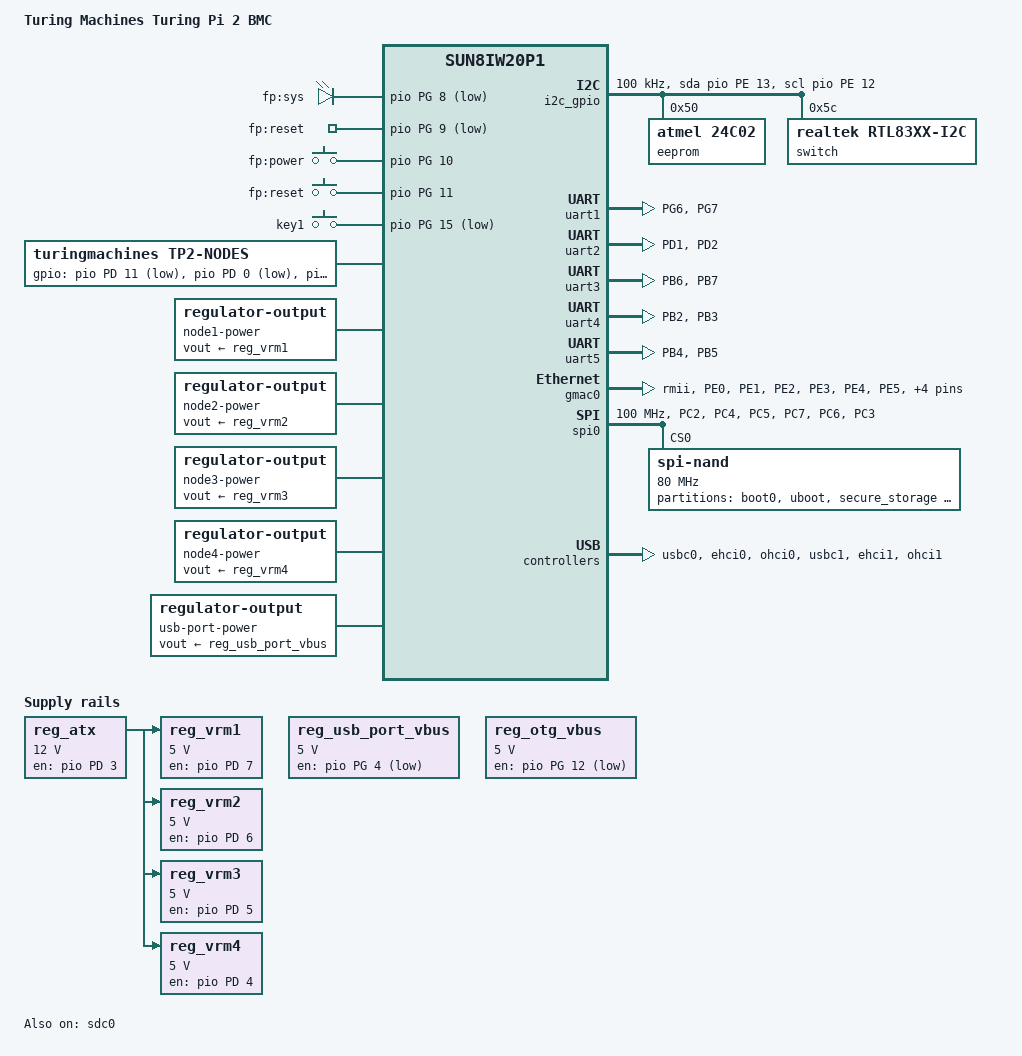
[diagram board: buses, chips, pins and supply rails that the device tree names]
// SPDX-License-Identifier: GPL-2.0
// Copyright (C) 2023 Sam Edwards <CFSworks@gmail.com>

/dts-v1/;

/memreserve/ 0x41900000 0x00100000;

#include "sun8iw20p1.dtsi"
#include <dt-bindings/input/input.h>

/{
	model = "Turing Machines Turing Pi 2 BMC";
	compatible = "turingmachines,tp2bmc", "allwinner,r528", "arm,sun8iw20p1";

	// The i2c-sunxi driver does not currently support NOSTART
	// transactions, which are necessary to support the RTL8370MB's Realtek
	// mode, so GPIO mode is used instead for now. This can be removed once
	// NOSTART support is added to i2c-sunxi.
	i2c_gpio: i2c@2 {
		#address-cells = <1>;
		#size-cells = <0>;

		status = "disabled";
		compatible = "i2c-gpio";

		sda-gpios = <&pio PE 13 (GPIO_ACTIVE_HIGH | GPIO_OPEN_DRAIN)>;
		scl-gpios = <&pio PE 12 (GPIO_ACTIVE_HIGH | GPIO_OPEN_DRAIN)>;
		i2c-gpio,delay-us = <2>; /* 100 KHz */
	};

	// The LEDs are actually GPIO lines that go to the front-panel LEDs.
	// This is currently disabled; userspace wants to manage the GPIOs
	// directly for now.
	leds {
		compatible = "gpio-leds";

		sys {
			label = "fp:sys";
			gpios = <&pio PG 8 GPIO_ACTIVE_LOW>;
		};

		reset {
			label = "fp:reset";
			gpios = <&pio PG 9 GPIO_ACTIVE_LOW>;
		};
	};

	// The keys are also GPIO lines.
	// This is also disabled, for the same reason as above.
	keys {
		compatible = "gpio-keys";

		// Part of the front-panel connector
		power {
			label = "fp:power";
			linux,code = <KEY_POWER>;
			gpios = <&pio PG 10 GPIO_ACTIVE_HIGH>;
		};

		reset {
			label = "fp:reset";
			linux,code = <KEY_RESTART>;
			gpios = <&pio PG 11 GPIO_ACTIVE_HIGH>;
		};

		// Located on the board itself
		key1 {
			label = "key1";
			linux,code = <KEY_1>;
			gpios = <&pio PG 15 GPIO_ACTIVE_LOW>;
		};

	};

	// Node-management GPIOs (x4)
	//
	// This node is intended to be bound to the Linux GPIO Aggregator
	// driver
	nodes {
		compatible = "turingmachines,tp2-nodes";

		gpios = <&pio PD 11 GPIO_ACTIVE_LOW>, /* node 1 */
			<&pio PD  0 GPIO_ACTIVE_LOW>,
			<&pio PD 19 GPIO_ACTIVE_HIGH>,
			<&pio PD 15 GPIO_ACTIVE_LOW>,
			<&pio PD 10 GPIO_ACTIVE_LOW>, /* node 2 */
			<&pio PD 20 GPIO_ACTIVE_LOW>,
			<&pio PD 18 GPIO_ACTIVE_HIGH>,
			<&pio PD 14 GPIO_ACTIVE_LOW>,
			<&pio PD  9 GPIO_ACTIVE_LOW>, /* node 3 */
			<&pio PD 21 GPIO_ACTIVE_LOW>,
			<&pio PD 17 GPIO_ACTIVE_HIGH>,
			<&pio PD 12 GPIO_ACTIVE_LOW>,
			<&pio PD  8 GPIO_ACTIVE_LOW>, /* node 4 */
			<&pio PD 22 GPIO_ACTIVE_LOW>,
			<&pio PD 16 GPIO_ACTIVE_HIGH>,
			<&pio PD 13 GPIO_ACTIVE_LOW>;

		gpio-line-names = "node1-en", "node1-rst",
				  "node1-usbotg-dev", "node1-rpiboot",
				  "node2-en", "node2-rst",
				  "node2-usbotg-dev", "node2-rpiboot",
				  "node3-en", "node3-rst",
				  "node3-usbotg-dev", "node3-rpiboot",
				  "node4-en", "node4-rst",
				  "node4-usbotg-dev", "node4-rpiboot";
	};

	// Voltage regulators (there are 7 main ones):
	// - ATX PSU:
	//   - Node 1 VRM
	//   - Node 2 VRM
	//   - Node 3 VRM
	//   - Node 4 VRM

	// USB power supplies for:
	//   - External USB 5v supply
	//   - On-board micro-B OTG port
	reg_atx: atx-vbus {
		compatible = "regulator-fixed";

		regulator-name = "atx-vbus";
		regulator-min-microvolt = <12000000>;
		regulator-max-microvolt = <12000000>;
		startup-delay-us = <250000>;

		gpio = <&pio PD 3 GPIO_ACTIVE_HIGH>;
		enable-active-high;
	};

	reg_vrm1: vrm1-vbus {
		compatible = "regulator-fixed";

		regulator-name = "vrm1-vbus";
		regulator-min-microvolt = <5000000>;
		regulator-max-microvolt = <5000000>;
		startup-delay-us = <100000>;

		enable-active-high;
		gpio = <&pio PD 7 GPIO_ACTIVE_HIGH>;

		vin-supply = <&reg_atx>;
	};

	node1-power {
		compatible = "regulator-output";
		vout-supply = <&reg_vrm1>;
	};

	reg_vrm2: vrm2-vbus {
		compatible = "regulator-fixed";

		regulator-name = "vrm2-vbus";
		regulator-min-microvolt = <5000000>;
		regulator-max-microvolt = <5000000>;
		startup-delay-us = <100000>;

		enable-active-high;
		gpio = <&pio PD 6 GPIO_ACTIVE_HIGH>;

		vin-supply = <&reg_atx>;
	};

	node2-power {
		compatible = "regulator-output";
		vout-supply = <&reg_vrm2>;
	};

	reg_vrm3: vrm3-vbus {
		compatible = "regulator-fixed";

		regulator-name = "vrm3-vbus";
		regulator-min-microvolt = <5000000>;
		regulator-max-microvolt = <5000000>;
		startup-delay-us = <100000>;

		enable-active-high;
		gpio = <&pio PD 5 GPIO_ACTIVE_HIGH>;

		vin-supply = <&reg_atx>;
	};

	node3-power {
		compatible = "regulator-output";
		vout-supply = <&reg_vrm3>;
	};

	reg_vrm4: vrm4-vbus {
		compatible = "regulator-fixed";

		regulator-name = "vrm4-vbus";
		regulator-min-microvolt = <5000000>;
		regulator-max-microvolt = <5000000>;
		startup-delay-us = <100000>;

		enable-active-high;
		gpio = <&pio PD 4 GPIO_ACTIVE_HIGH>;

		vin-supply = <&reg_atx>;
	};

	node4-power {
		compatible = "regulator-output";
		vout-supply = <&reg_vrm4>;
	};

	reg_usb_port_vbus: usb-port-vbus {
		compatible = "regulator-fixed";

		regulator-name = "usb-port-vbus";
		regulator-min-microvolt = <5000000>;
		regulator-max-microvolt = <5000000>;
		startup-delay-us = <50000>;

		gpio = <&pio PG 4 GPIO_ACTIVE_LOW>;
	};

	usb-port-power {
		compatible = "regulator-output";
		vout-supply = <&reg_usb_port_vbus>;
	};

	reg_otg_vbus: otg-vbus {
		compatible = "regulator-fixed";

		regulator-name = "usb-otg";
		regulator-min-microvolt = <5000000>;
		regulator-max-microvolt = <5000000>;
		startup-delay-us = <50000>;

		gpio = <&pio PG 12 GPIO_ACTIVE_LOW>;
	};
};

/* --- Pin controller --- */
&pio {
	/* SDMMC Controller 0: microSD slot */
	sdc0_pins_a: sdc0@0 {
		allwinner,pins = "PF0", "PF1", "PF2",
				 "PF3", "PF4", "PF5";
		allwinner,function = "sdc0";
		allwinner,muxsel = <2>;
		allwinner,drive = <3>;
		allwinner,pull = <1>;
		pins = "PF0", "PF1", "PF2",
		       "PF3", "PF4", "PF5";
		function = "sdc0";
		drive-strength = <30>;
		bias-pull-up;
		power-source = <3300>;
	};

	sdc0_pins_b: sdc0@1 {
		pins = "PF0", "PF1", "PF2",
		       "PF3", "PF4", "PF5";
		function = "sdc0";
		drive-strength = <30>;
		bias-pull-up;
		power-source = <1800>;
	};

	sdc0_pins_c: sdc0@2 {
		pins = "PF0", "PF1", "PF2",
			"PF3", "PF4", "PF5";
		function = "gpio_in";
	};



	/* SDMMC Controller 2: SPI-NAND, for boot control */
	sdc2_pins_a: sdc2@0 {
		allwinner,pins = "PC2", "PC3", "PC4",
				 "PC5", "PC6", "PC7";
		allwinner,function = "sdc2";
		allwinner,muxsel = <3>;
		allwinner,drive = <3>;
		allwinner,pull = <1>;
		pins = "PC2", "PC3", "PC4",
			"PC5", "PC6", "PC7";
		function = "sdc2";
		drive-strength = <30>;
		bias-pull-up;
	};



	/* UARTs, as follows:
	 * UART0: Unused
	 * UART1: Node 2
	 * UART2: Node 1
	 * UART3: BMC console
	 * UART4: Node 3
	 * UART5: Node 4
	 */
	uart1_pins_a: uart1_pins@0 {
		pins = "PG6", "PG7";
		function = "uart1";
		drive-strength = <10>;
		bias-pull-up;
	};

	uart1_pins_b: uart1_pins {
		pins = "PG6", "PG7";
		function = "gpio_in";
	};

	uart2_pins_a: uart2_pins@0 {
		pins = "PD1", "PD2";
		function = "uart2";
		drive-strength = <10>;
		bias-pull-up;
	};

	uart2_pins_b: uart2_pins@1 {
		pins = "PD1", "PD2";
		function = "gpio_in";
	};

	uart3_pins_a: uart3_pins@0 {
		pins = "PB6", "PB7";
		function = "uart3";
		drive-strength = <10>;
		bias-pull-up;
	};

	uart3_pins_b: uart3_pins@1 {
		pins = "PB6", "PB7";
		function = "gpio_in";
	};

	uart4_pins_a: uart4_pins@0 {
		pins = "PB2", "PB3";
		function = "uart4";
		drive-strength = <10>;
		bias-pull-up;
	};

	uart4_pins_b: uart4_pins@1 {
		pins = "PB2", "PB3";
		function = "gpio_in";
	};

	uart5_pins_a: uart5_pins@0 {
		pins = "PB4", "PB5";
		function = "uart5";
		drive-strength = <10>;
		bias-pull-up;
	};

	uart5_pins_b: uart5_pins@1 {
		pins = "PB4", "PB5";
		function = "gpio_in";
	};



	/* TWI Controller 2: 24C02 and RTL8370MB-CG */
	twi2_pins_a: twi2@0 {
		pins = "PE12", "PE13";
		function = "twi2";
		drive-strength = <10>;
	};

	twi2_pins_b: twi2@1 {
		pins = "PE12", "PE13";
		function = "gpio_in";
	};



	/* Ethernet MAC: RTL8201F in RMII mode */
	gmac0_pins_a: gmac@0 {
		allwinner,pins = "PE0", "PE1", "PE2", "PE3", "PE4",
				 "PE5", "PE6", "PE7","PE8", "PE9";
		allwinner,function = "gmac0";
		allwinner,muxsel = <8>;
		allwinner,drive = <1>;
		allwinner,pull = <0>;
	};

	gmac0_pins_b: gmac@1 {
		allwinner,pins = "PE0", "PE1", "PE2", "PE3", "PE4",
				 "PE5", "PE6", "PE7","PE8", "PE9";
		allwinner,function = "gpio_in";
		allwinner,muxsel = <0>;
		allwinner,drive = <1>;
		allwinner,pull = <0>;
	};



	/* SPI Controller 0: NAND flash */
	spi0_pins_a: spi0@0 {
		pins = "PC2", "PC4", "PC5","PC7", "PC6";
		function = "spi0";
		drive-strength = <10>;
	};

	spi0_pins_b: spi0@1 {
		pins = "PC3";
		function = "spi0";
		drive-strength = <10>;
		bias-pull-up;   /* only CS should be pulled up */
	};

	spi0_pins_c: spi0@2 {
		pins = "PC2", "PC3", "PC4", "PC5","PC6", "PC7";
		function = "gpio_in";
		drive-strength = <10>;
	};
};



/* --- SDMMC --- */
&sdc0 {
	status = "okay";

	pinctrl-names = "default", "mmc_1v8", "sleep";
	pinctrl-0 = <&sdc0_pins_a>;
	pinctrl-1 = <&sdc0_pins_b>;
	pinctrl-2 = <&sdc0_pins_c>;
	pinctrl-3;

	bus-width = <4>;
	cd-gpios = <&pio PF 6 (GPIO_ACTIVE_LOW | GPIO_PULL_UP)>;
	cd-used-24M;
	cap-sd-highspeed;
	no-sdio;
	no-mmc;
	sunxi-power-save-mode;
	max-frequency = <150000000>;
	ctl-spec-caps = <0x8>;
};



/* --- UARTs --- */
&uart1 {
	status = "okay";

	pinctrl-names = "default", "sleep";
	pinctrl-0 = <&uart1_pins_a>;
	pinctrl-1 = <&uart1_pins_b>;
};

&uart2 {
	status = "okay";

	pinctrl-names = "default", "sleep";
	pinctrl-0 = <&uart2_pins_a>;
	pinctrl-1 = <&uart2_pins_b>;
};

&uart3 {
	status = "okay";

	pinctrl-names = "default", "sleep";
	pinctrl-0 = <&uart3_pins_a>;
	pinctrl-1 = <&uart3_pins_b>;
};

&uart4 {
	status = "okay";

	pinctrl-names = "default", "sleep";
	pinctrl-0 = <&uart4_pins_a>;
	pinctrl-1 = <&uart4_pins_b>;
};

&uart5 {
	status = "okay";

	pinctrl-names = "default", "sleep";
	pinctrl-0 = <&uart5_pins_a>;
	pinctrl-1 = <&uart5_pins_b>;
};



/* --- TWI --- */
&twi2 {
	pinctrl-names = "default", "sleep";
	pinctrl-0 = <&twi2_pins_a>;
	pinctrl-1 = <&twi2_pins_b>;

#if 1
	status = "disabled";
};

&i2c_gpio {
#endif

	status = "okay";

	clock-frequency = <100000>; // RTL8370MB-CG not rated for 400KHz

	eeprom@50 {
		status = "okay";
		compatible = "atmel,24c02";
		reg = <0x50>;

		pagesize = <16>;
	};

	switch@5c {
		status = "okay";
		compatible = "realtek,rtl83xx-i2c"; // This is made up.
		reg = <0x5C>;

		realtek,i2c-mode = "realtek";
	};
};



/* --- Ethernet --- */
&gmac0 {
	status = "okay";

	pinctrl-names = "default", "sleep";
	pinctrl-0 = <&gmac0_pins_a>;
	pinctrl-1 = <&gmac0_pins_b>;

	phy-mode = "rmii";
	use_ephy25m = <0>;
	tx-delay = <3>;
	rx-delay = <0>;
	phy-rst = <&pio PE 10 GPIO_ACTIVE_HIGH>;
};



/* --- SPI --- */
&spi0 {
	status = "okay";

	pinctrl-names = "default", "sleep";
	pinctrl-0 = <&spi0_pins_a &spi0_pins_b>;
	pinctrl-1 = <&spi0_pins_c>;

	clock-frequency = <100000000>;
	spi_slave_mode = <0>;
	spi0_cs_number = <1>;
	spi0_cs_bitmap = <1>;

	spi-nand@0 {
		compatible = "spi-nand";
		reg = <0x0>;

		spi-max-frequency=<80000000>;
		spi-rx-bus-width=<0x04>;
		spi-tx-bus-width=<0x04>;

		// TODO: It would be nice to parse boot0's configuration header
		// to deduce these at boot
		// NOTE: Only respected when the Linux `spi-nand` driver
		// (MTD_SPI_NAND w/ MTD_OF_PARTS) is used.
		// The Allwinner `spi-nand` driver (AW_MTD_SPINAND) ignores
		// this, but generates the same partitioning internally.
		partitions {
			compatible = "fixed-partitions";
			#address-cells = <1>;
			#size-cells = <1>;

			partition@0 {
				label = "boot0";
				reg = <0x00000000 0x00100000>;
				read-only;
			};

			partition@100000 {
				label = "uboot";
				reg = <0x00100000 0x00300000>;
				read-only;
			};

			partition@400000 {
				label = "secure_storage";
				reg = <0x00400000 0x00100000>;
				read-only;
			};

			partition@500000 {
				label = "sys";
				reg = <0x00500000 0x07b00000>;
			};
		};
	};
};



&soc {
	platform@45000004 {
		reg = <0x0 0x45000004 0x0 0x0>;
		eraseflag   = <1>;
		next_work   = <3>;
		debug_mode  = <8>;
	};

	target@45000008 {
		reg = <0x0 0x45000008 0x0 0x0>;
		boot_clock = <1008>;	/*CPU boot frequency, Unit: MHz*/
		storage_type = <0xffffffff>; /*boot medium, 0-nand, 1-card0, 2-card2, -1(defualt)auto scan*/
		burn_key = <0>;		/*1:support burn key; 0:not support burn key*/
		dragonboard_test = <0>;	/*1:support card boot dragonboard; 0:not support card boot dragonboard*/
	};

	card0_boot_para@2 {
		/*
		 * Avoid dtc compiling warnings.
		 * @TODO: Developer should modify this to the actual value
		 */
		reg = <0x0 0x2 0x0 0x0>;
		device_type = "card0_boot_para";
		card_ctrl = <0x0>;
		card_high_speed = <0x1>;
		card_line = <0x4>;
		pinctrl-0 = <&sdc0_pins_a>;
	};

	card2_boot_para@3 {
		/*
		 * Avoid dtc compiling warnings.
		 * @TODO: Developer should modify this to the actual value
		 */
		reg = <0x0 0x3 0x0 0x0>;
		device_type = "card2_boot_para";
		card_ctrl = <0x2>;
		card_high_speed = <0x1>;
		card_line = <0x4>;
		pinctrl-0 = <&sdc2_pins_a>;
		/*pinctrl-0 = <&sdc0_pins_a>;*/
		/*sdc_ex_dly_used = <0x2>;*/
		sdc_io_1v8 = <0x1>;
		/*sdc_type = "tm4";*/
		sdc_tm4_hs200_max_freq = <150>;
		sdc_tm4_hs400_max_freq = <100>;
		sdc_ex_dly_used = <2>;
		/*sdc_tm4_win_th = <8>;*/
		/*sdc_dis_host_caps = <0x180>;*/
	};
};



/* --- USB --- */

/*
 *usb_port_type: usb mode. 0-device, 1-host, 2-otg.
 *usb_detect_type: usb hotplug detect mode. 0-none, 1-vbus/id detect, 2-id/dpdm detect.
 *usb_detect_mode: 0-thread scan, 1-id gpio interrupt.
 *usb_id_gpio: gpio for id detect.
 *usb_det_vbus_gpio: gpio for id detect. gpio or "axp_ctrl";
 *usb_wakeup_suspend：0-SUPER_STANDBY, 1-USB_STANDBY.
 */
&usbc0 {
	status = "okay";

	device_type = "usbc0";
	usb_port_type = <0x2>;
	usb_detect_type = <0x1>;
	usb_detect_mode = <0>;
	usb_wakeup_suspend = <0>;
	usb_serial_unique = <0>;
	usb_serial_number = "20080411";
	rndis_wceis = <1>;
};

&ehci0 {
	status = "okay";

	drvvbus-supply = <&reg_otg_vbus>;
};

&ohci0 {
	status = "okay";

	drvvbus-supply = <&reg_otg_vbus>;
};

&usbc1 {
	status = "okay";

	device_type = "usbc1";
	usb_port_type = <0x1>;
	sb_detect_type = <0x1>;
	usb_regulator_io = "nocare";
	usb_wakeup_suspend = <0>;
};

&ehci1 {
	status = "okay";
};

&ohci1 {
	status = "okay";
};



/* --- Disable unused peripherals --- */
&sdc1 {
	status = "disabled";
	pinctrl-0;
	pinctrl-1;
};
&sdc2 {
	status = "disabled";
	pinctrl-0;
	pinctrl-1;
};
#define DISABLE_DEV(dev) \
&dev { \
	status = "disabled"; \
}
DISABLE_DEV(rtp);
DISABLE_DEV(ve);
DISABLE_DEV(pwm);
DISABLE_DEV(pwm0);
DISABLE_DEV(pwm1);
DISABLE_DEV(pwm2);
DISABLE_DEV(pwm3);
DISABLE_DEV(pwm4);
DISABLE_DEV(pwm5);
DISABLE_DEV(pwm6);
DISABLE_DEV(pwm7);
DISABLE_DEV(lcd_fb0);
DISABLE_DEV(keyboard0);
DISABLE_DEV(gpadc);
DISABLE_DEV(vind0);
DISABLE_DEV(di);
DISABLE_DEV(g2d);
DISABLE_DEV(disp);
DISABLE_DEV(lcd0);
DISABLE_DEV(tv0);
DISABLE_DEV(hdmi);
DISABLE_DEV(codec);
DISABLE_DEV(dummy_cpudai);
DISABLE_DEV(sndcodec);
DISABLE_DEV(dmic_codec);
DISABLE_DEV(tvd);
DISABLE_DEV(tvd0);
